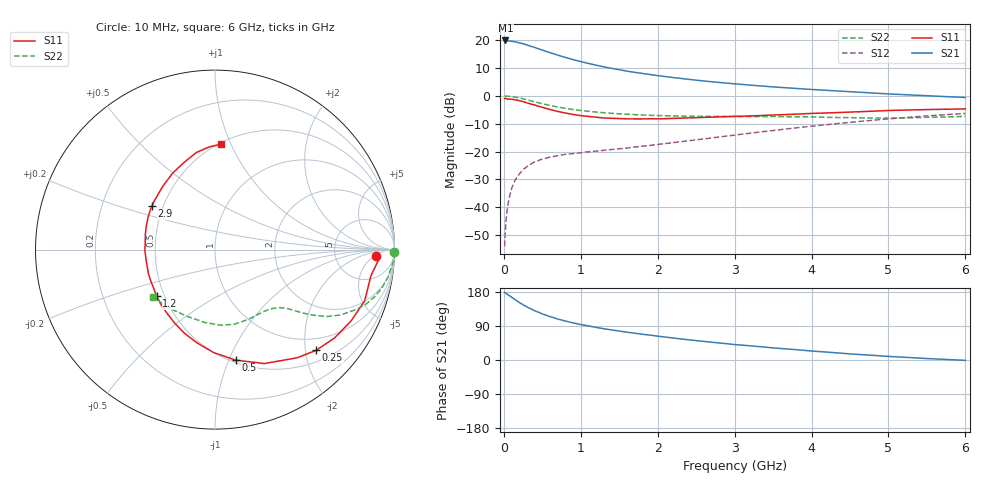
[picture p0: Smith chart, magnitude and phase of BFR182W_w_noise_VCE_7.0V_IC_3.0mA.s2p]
! Infineon Technologies  Discrete & RF Semiconductors
! BFR182W
! VCE =  7.0 V,  IC =  3.0 mA
! Common Emitter S-Parameters:  Jan 2017
# GHz  S  MA  R  50
!  f  S11  S21  S12  S22
! GHz  MAG  ANG  MAG  ANG  MAG  ANG  MAG  ANG
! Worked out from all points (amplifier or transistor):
!   77 points, 10 MHz to 6 GHz, reference 50 ohm
!   highest |S21| = 20.0 dB at 20 MHz (marker M1)
!   |S21| within 3 dB of that: start of sweep to 451 MHz
!   unconditionally stable (mu >= 1): 1.583 GHz to 3.01 GHz
!   at 130 MHz: K = 0.11, MSG = 25.4 dB, |S12| = -31.3 dB
!   at 2.2 GHz: K = 1.07, MAG = 10.1 dB, |S12| = -16.8 dB
!   at 6 GHz: K = 0.82, MSG = 2.9 dB, |S12| = -6.2 dB
!   lowest NFmin = 0.82 dB at 450 MHz
!   S11 on the Smith chart (normalised r, x): 10 MHz: 17, -6; 250 MHz: 0.73, -2.22; 500 MHz: 0.52, -1.06; 1.2 GHz: 0.45, -0.29; 2.9 GHz: 0.43, +0.26; 6 GHz: 0.51, +0.92
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0.01  0.8996 -2.1  9.919 178.5  0.002 88.8  1 -0.9
0.02  0.9115 -3.9  10 177.2  0.0038 90.4  1 -2.0
0.06  0.879 -11.4  9.828 171.5  0.0126 82.1  0.989 -5.3
0.15  0.856 -27.7  9.413 158.8  0.0313 74.9  0.9545 -13.0
0.2  0.8281 -36.5  9.077 152.0  0.0394 71.1  0.926 -16.6
0.25  0.7953 -44.9  8.732 145.7  0.0479 66.4  0.8939 -19.9
0.3  0.7567 -52.8  8.299 140.0  0.0537 62.4  0.8569 -22.8
0.4  0.6919 -66.6  7.501 130.0  0.0656 57.3  0.7908 -27.4
0.5  0.627 -79.3  6.714 121.7  0.0736 52.9  0.7294 -30.7
0.6  0.5745 -90.6  6.046 114.5  0.08 50.1  0.6783 -32.9
0.7  0.5298 -100.8  5.448 108.2  0.0846 48.6  0.6361 -34.6
0.8  0.4956 -110.3  4.963 102.8  0.0896 47.9  0.6019 -35.9
0.9  0.4673 -118.6  4.527 97.9  0.0924 47.1  0.5739 -36.9
1.1  0.4299 -134.1  3.862 89.9  0.0997 47.4  0.5323 -38.6
1.2  0.4165 -141.3  3.592 86.0  0.1024 47.7  0.5155 -39.4
1.6  0.39 -165.0  2.811 73.4  0.1165 50.9  0.4726 -43.5
2.1  0.3925 171.8  2.242 60.5  0.14 55.3  0.4426 -50.4
2.9  0.4272 145.3  1.708 42.9  0.1911 59.0  0.4299 -64.5
3.1  0.4353 139.8  1.618 39.2  0.2068 59.0  0.4286 -68.2
4.1  0.4925 116.7  1.291 22.3  0.2971 55.6  0.4183 -88.3
5.1  0.5545 99.3  1.077 8.4  0.3988 47.1  0.4032 -116.6
6  0.5884 86.9  0.942 -1.0  0.4882 37.3  0.4332 -142.5
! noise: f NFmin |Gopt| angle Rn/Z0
0.45  0.82  0.39  31  0.2
0.9  0.95  0.3  57  0.2
1.9  1.6  0.25  149  0.12
2.4  1.92  0.23  170  0.17
